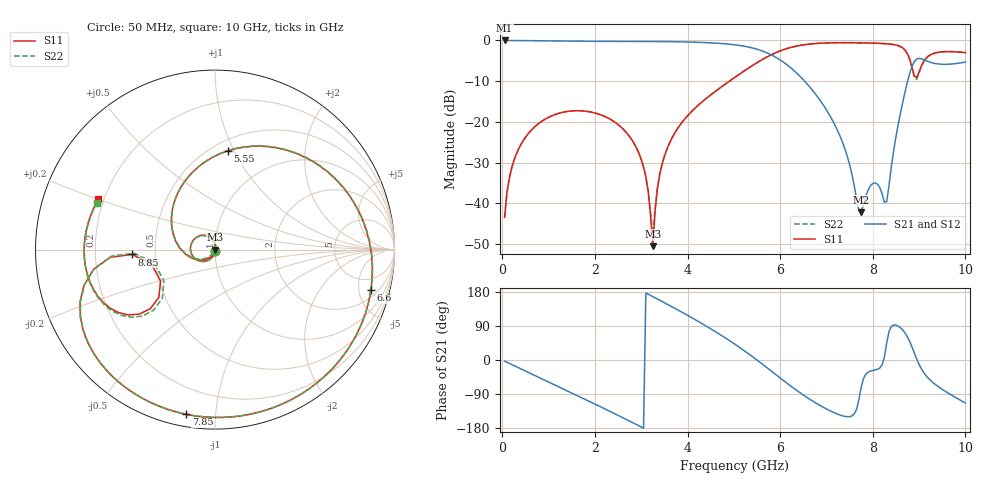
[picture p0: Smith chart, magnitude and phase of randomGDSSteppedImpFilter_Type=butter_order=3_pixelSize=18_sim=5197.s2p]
! freq	dB(S11)	phase(S11)	dB(S12)	phase(S12)
!  dB(S21)	phase(S21)	dB(S22)	phase(S22)
!S-par simulation data
#  GHz  S  DB  R 50
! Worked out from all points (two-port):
!   200 points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, 50 MHz to 10 GHz, reference 50 ohm
!   highest |S21| = -0.01 dB at 50 MHz (marker M1); lowest = -42.2 dB at 7.75 GHz (marker M2)
!   |S21| within 3 dB of the highest: start of sweep to 5.707 GHz
!   lowest |S11| = -50.5 dB at 3.25 GHz (marker M3), VSWR 1.01, Z = 50.3 - j0.116 ohm
!   |S11| at or under -10 dB: start of sweep to 4.905 GHz
!   |S22| runs from -47.6 to -0.6 dB; largest |S21 - S12| = 0
!   S11 on the Smith chart (normalised r, x): 50 MHz: 1.00, -0.01; 5.55 GHz: 0.59, +0.94; 6.6 GHz: 2.84, -6.61; 7.85 GHz: 0.06, -0.84; 8.85 GHz: 0.37, -0.03; 10 GHz: 0.18, +0.20
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0.05  -43.45 -92.3  -0.01 -3.0  -0.01 -3.0  -43.45 -92.3
0.2  -31.46 -101.6  -0.02 -11.7  -0.02 -11.7  -31.46 -101.5
0.5  -23.80 -119.4  -0.05 -29.2  -0.05 -29.2  -23.80 -119.1
1.75  -17.32 166.9  -0.20 -101.6  -0.20 -101.6  -17.32 168.2
2.9  -26.47 95.3  -0.22 -170.6  -0.22 -170.6  -26.46 102.6
3.1  -33.55 78.8  -0.23 176.9  -0.23 176.9  -33.48 96.0
3.25  -50.54 -22.9  -0.24 167.4  -0.24 167.4  -47.60 172.4
3.4  -32.93 -106.8  -0.26 157.7  -0.26 157.7  -32.83 -123.4
4.3  -15.23 -174.0  -0.49 96.9  -0.49 96.9  -15.21 -175.7
5.05  -8.84 127.4  -1.11 39.4  -1.11 39.4  -8.84 127.2
5.55  -5.13 82.8  -2.34 -4.7  -2.34 -4.7  -5.12 83.0
6.05  -2.37 34.8  -5.17 -52.1  -5.17 -52.1  -2.36 35.3
6.6  -0.94 -14.6  -10.90 -100.5  -10.90 -100.5  -0.94 -14.1
6.7  -0.82 -22.7  -12.26 -108.3  -12.26 -108.3  -0.82 -22.3
7.3  -0.55 -65.8  -23.70 -145.5  -23.70 -145.5  -0.55 -65.4
7.75  -0.59 -93.9  -42.17 -71.8  -42.17 -71.8  -0.59 -93.5
7.85  -0.62 -100.0  -38.26 -37.4  -38.26 -37.4  -0.62 -99.6
8.35  -0.87 -132.0  -35.66 75.2  -35.66 75.2  -0.88 -131.8
8.65  -1.86 -158.7  -15.05 78.8  -15.05 78.8  -1.89 -158.8
8.85  -6.68 -176.7  -6.31 33.3  -6.31 33.3  -6.91 -177.4
9.2  -3.85 -146.8  -5.19 -48.1  -5.19 -48.1  -3.89 -145.1
10  -3.00 156.8  -5.33 -113.7  -5.33 -113.7  -2.99 158.7
